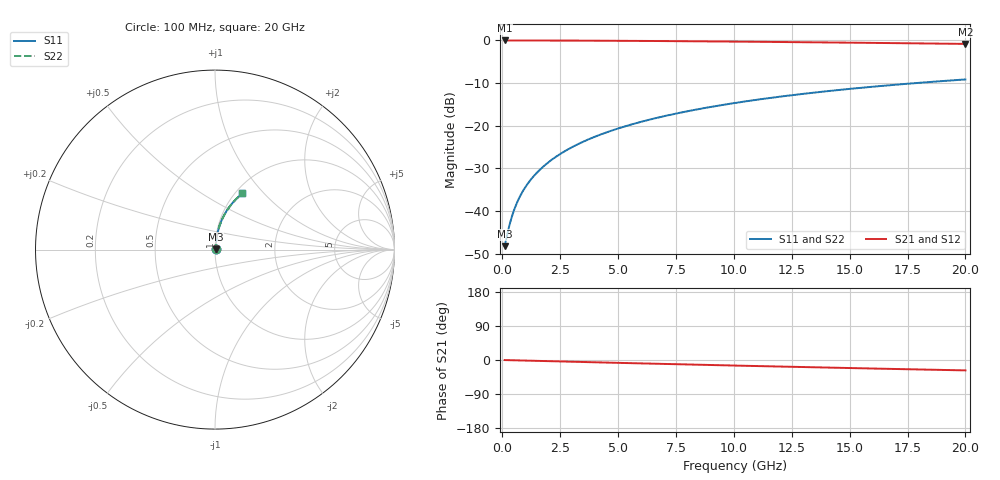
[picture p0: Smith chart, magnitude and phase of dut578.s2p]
! Touchstone file exported from HFSS 2024.1.0
!  File:  C:/UserFiles/LocalFiles/RDL_TSV_Batchsim/temp_RDL_bottom_578_1779690558.aedt
!  Generated:  02:31:56 PM May 25, 2026
!  Design:  RDL_bottom
!  Project:  temp_RDL_bottom_578_1779690558
!  Setup:  Setup1
!  Solution:  Sweep
! Variables:
!  dtsv = 10.80580581um
!  hbump = 3um
!  htsv = 51.75um
!  ldown = 320.74um
!  lrdl = 100um
!  p = 40
!  p1 = 44.67um
!  rhole = 1um
!  t = 450um
!  tdown = 3.31um
!  trdl = 3.915915916um
!  wdown = 10.55um
!  wrdl = 20um
# GHz S MA R 50.000000
! Terminal data exported
! Port[1] = RDL1_T1
! Port[2] = RDL1_T2
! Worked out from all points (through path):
!   200 points, 100 MHz to 20 GHz, reference 50 ohm
!   highest |S21| = -0.03 dB at 100 MHz (marker M1); lowest = -0.8 dB at 20 GHz (marker M2)
!   group delay of S21, straight-line fit = 3.81 ps
!   lowest |S11| = -48.3 dB at 100 MHz (marker M3), VSWR 1.01, Z = 50.3 + j0.192 ohm
!   |S11| at or under -10 dB: start of sweep to 17.91 GHz
!   |S22| runs from -48.3 to -9.2 dB; largest |S21 - S12| = 3.1e-15
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0.1  0.003864 29.6  0.9966 -0.2  0.9966 -0.2  0.003864 29.6
! Gamma 0 0 0 0
! Port Impedance 50 0 50 0
0.3  0.006665 58.8  0.9965 -0.5  0.9965 -0.5  0.006665 58.8
0.4  0.008357 65.0  0.9965 -0.6  0.9965 -0.6  0.008357 65.0
0.5  0.0101 69.1  0.9964 -0.8  0.9964 -0.8  0.0101 69.1
0.6  0.01188 71.9  0.9963 -0.9  0.9963 -0.9  0.01188 71.9
0.7  0.01367 73.9  0.9962 -1.1  0.9962 -1.1  0.01367 73.9
0.9  0.01727 76.7  0.996 -1.4  0.996 -1.4  0.01727 76.7
1.2  0.02271 79.1  0.9958 -1.8  0.9958 -1.8  0.02271 79.1
1.4  0.02635 80.1  0.9955 -2.1  0.9955 -2.1  0.02635 80.1
1.7  0.03184 81.1  0.9952 -2.6  0.9952 -2.6  0.03183 81.1
2.2  0.041 82.0  0.9944 -3.4  0.9944 -3.4  0.041 82.0
2.8  0.05203 82.4  0.9934 -4.3  0.9934 -4.3  0.05203 82.4
3.5  0.06493 82.4  0.9918 -5.3  0.9918 -5.3  0.06493 82.4
4.2  0.07783 82.0  0.99 -6.4  0.99 -6.4  0.07783 82.0
5  0.09258 81.5  0.9876 -7.5  0.9876 -7.5  0.09258 81.5
5.9  0.1091 80.7  0.9846 -8.8  0.9846 -8.8  0.1091 80.7
6.8  0.1256 79.8  0.9812 -10.1  0.9812 -10.1  0.1256 79.8
8.3  0.153 78.1  0.9748 -12.3  0.9748 -12.3  0.153 78.1
10.1  0.1853 76.0  0.9663 -14.8  0.9663 -14.8  0.1853 76.0
13.4  0.2428 72.0  0.9487 -19.2  0.9487 -19.2  0.2428 72.0
16.7  0.2972 67.9  0.9292 -23.4  0.9292 -23.4  0.2972 67.9
20  0.348 63.9  0.9083 -27.4  0.9083 -27.4  0.348 63.9
